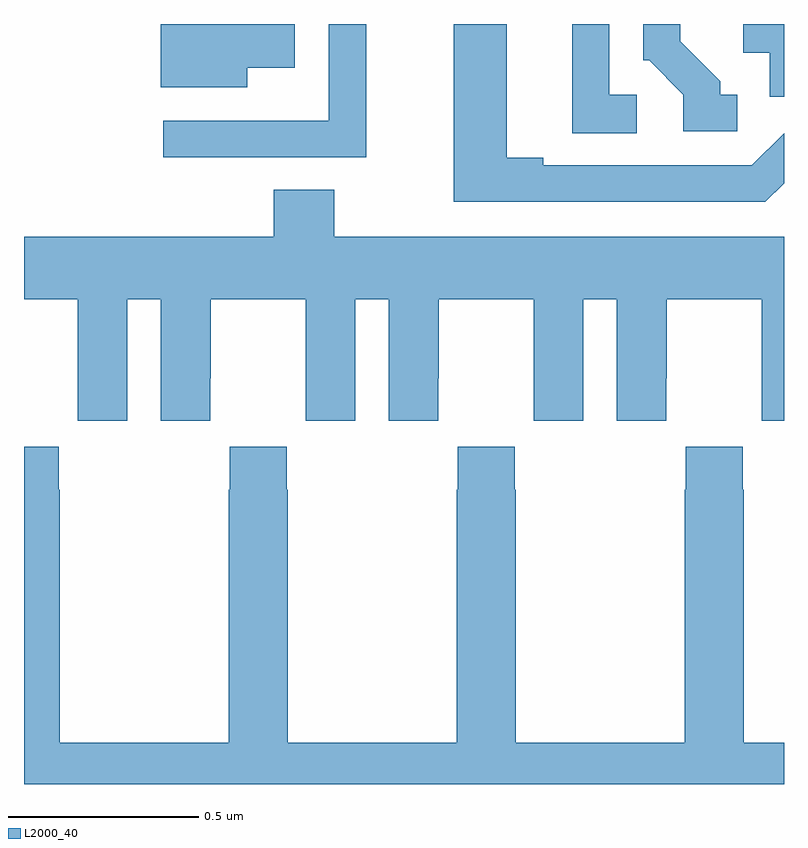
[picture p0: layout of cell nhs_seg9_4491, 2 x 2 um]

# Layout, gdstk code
import gdstk
lib = gdstk.Library(unit=1e-6, precision=1e-09)
def P(c, l, *ps):  # polygons
    for p in ps: c.add(gdstk.Polygon(p, *l))
L2000_40 = (2000, 40)

nhs_seg9_4491 = lib.new_cell('nhs_seg9_4491')
P(nhs_seg9_4491, L2000_40, [(168.877,1174.314),(168.832,1174.314),(168.832,1174.349),(168.727,1174.454),(168.727,1174.5),(168.63,1174.5),(168.63,1174.404),(168.645,1174.404),(168.735,1174.314),(168.735,1174.218),(168.877,1174.218)],
  [(169,1174.5),(168.893,1174.5),(168.893,1174.424),(168.962,1174.424),(168.962,1174.309),(169,1174.309)],
  [(169,1174.081),(169,1174.213),(168.915,1174.128),(168.367,1174.128),(168.367,1174.148),(168.271,1174.148),(168.271,1174.5),(168.131,1174.5),(168.131,1174.032),(168.951,1174.032)],
  [(167.587,1174.385),(167.713,1174.385),(167.713,1174.5),(167.36,1174.5),(167.36,1174.334),(167.587,1174.334)],
  [(168.613,1174.314),(168.54,1174.314),(168.54,1174.5),(168.443,1174.5),(168.443,1174.213),(168.613,1174.213)],
  [(167.901,1174.5),(167.802,1174.5),(167.802,1174.246),(167.801,1174.246),(167.801,1174.245),(167.367,1174.245),(167.367,1174.149),(167.901,1174.149)],
  [(167.272,1173.776),(167.36,1173.776),(167.36,1173.456),(167.49,1173.456),(167.49,1173.568),(167.491,1173.568),(167.491,1173.776),(167.741,1173.776),(167.741,1173.568),(167.742,1173.568),(167.742,1173.456),(167.872,1173.456),(167.872,1173.776),(167.96,1173.776),(167.96,1173.456),(168.09,1173.456),(168.09,1173.568),(168.091,1173.568),(168.091,1173.776),(168.341,1173.776),(168.341,1173.568),(168.342,1173.568),(168.342,1173.456),(168.472,1173.456),(168.472,1173.776),(168.56,1173.776),(168.56,1173.456),(168.69,1173.456),(168.69,1173.568),(168.691,1173.568),(168.691,1173.776),(168.941,1173.776),(168.941,1173.568),(168.942,1173.568),(168.942,1173.456),(169,1173.456),(169,1173.94),(167.817,1173.94),(167.817,1174.064),(167.657,1174.064),(167.657,1173.94),(167,1173.94),(167,1173.776),(167.141,1173.776),(167.141,1173.568),(167.142,1173.568),(167.142,1173.456),(167.272,1173.456)],
  [(169,1172.608),(168.894,1172.608),(168.894,1173.275),(168.891,1173.275),(168.891,1173.388),(168.741,1173.388),(168.741,1173.275),(168.739,1173.275),(168.739,1172.608),(168.294,1172.608),(168.294,1173.275),(168.291,1173.275),(168.291,1173.388),(168.141,1173.388),(168.141,1173.275),(168.139,1173.275),(168.139,1172.608),(167.694,1172.608),(167.694,1173.275),(167.691,1173.275),(167.691,1173.388),(167.541,1173.388),(167.541,1173.275),(167.539,1173.275),(167.539,1172.608),(167.094,1172.608),(167.094,1173.275),(167.091,1173.275),(167.091,1173.388),(167,1173.388),(167,1172.5),(169,1172.5)])

lib.write_gds('nhs_seg9_4491.gds')
